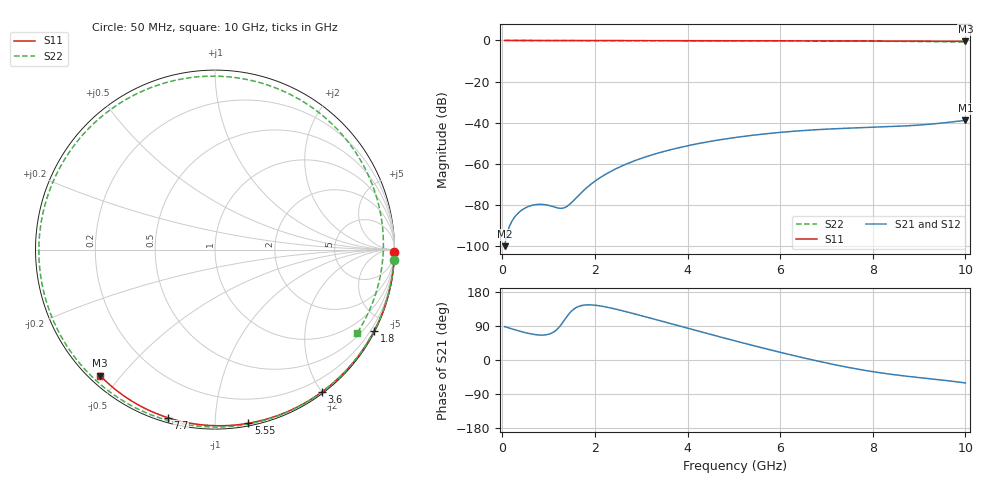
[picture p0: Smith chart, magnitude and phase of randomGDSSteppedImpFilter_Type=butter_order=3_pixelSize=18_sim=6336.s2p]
! freq	dB(S11)	phase(S11)	dB(S12)	phase(S12)
!  dB(S21)	phase(S21)	dB(S22)	phase(S22)
!S-par simulation data
#  GHz  S  DB  R 50
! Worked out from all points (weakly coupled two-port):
!   200 points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, 50 MHz to 10 GHz, reference 50 ohm
!   highest |S21| = -38.83 dB at 10 GHz (marker M1); lowest = -100.1 dB at 50 MHz (marker M2)
!   lowest |S11| = -0.4 dB at 10 GHz (marker M3), VSWR 38.90, Z = 1.54 - j22.1 ohm
!   |S11| at or under -10 dB: nowhere
!   |S22| runs from -0.7 to 0.0 dB; largest |S21 - S12| = 0
!   S11 on the Smith chart (normalised r, x): 50 MHz: open; 1.8 GHz: 0.04, -4.15; 3.6 GHz: 0.02, -2.01; 5.55 GHz: 0.02, -1.21; 7.7 GHz: 0.02, -0.76; 10 GHz: 0.03, -0.44
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0.05  -0.00 -0.8  -100.08 88.1  -100.08 88.1  -0.00 -3.2
0.45  -0.01 -6.9  -82.08 73.6  -82.08 73.6  -0.04 -28.1
0.9  -0.02 -13.7  -79.82 65.9  -79.82 65.9  -0.07 -54.8
1.45  -0.03 -21.9  -79.81 123.3  -79.81 123.3  -0.09 -84.2
1.75  -0.03 -26.4  -73.11 144.5  -73.11 144.5  -0.10 -98.7
1.8  -0.03 -27.1  -72.09 145.2  -72.09 145.2  -0.11 -101.0
2.45  -0.05 -36.6  -62.47 134.3  -62.47 134.3  -0.12 -128.5
2.9  -0.06 -43.1  -58.17 120.3  -58.17 120.3  -0.13 -145.3
3.4  -0.07 -50.2  -54.56 103.8  -54.56 103.8  -0.15 -162.6
3.6  -0.07 -53.0  -53.35 97.1  -53.35 97.1  -0.15 -169.1
4.3  -0.09 -62.6  -49.89 74.0  -49.89 74.0  -0.18 168.9
5.05  -0.11 -72.6  -47.15 49.7  -47.15 49.7  -0.21 146.2
5.55  -0.13 -79.2  -45.75 34.0  -45.75 34.0  -0.23 131.0
6.15  -0.15 -86.8  -44.43 15.9  -44.43 15.9  -0.26 112.4
6.7  -0.18 -93.6  -43.53 0.2  -43.53 0.2  -0.29 94.7
7.2  -0.21 -99.7  -42.93 -13.0  -42.93 -13.0  -0.32 77.9
7.7  -0.24 -105.7  -42.49 -24.6  -42.49 -24.6  -0.36 60.3
8.35  -0.29 -113.3  -41.96 -37.0  -41.96 -37.0  -0.42 36.3
8.8  -0.33 -118.6  -41.46 -43.8  -41.46 -43.8  -0.48 18.9
9.2  -0.36 -123.2  -40.81 -49.0  -40.81 -49.0  -0.54 3.0
9.6  -0.40 -127.7  -39.92 -54.4  -39.92 -54.4  -0.63 -13.4
10  -0.45 -132.3  -38.83 -60.6  -38.83 -60.6  -0.74 -30.2
